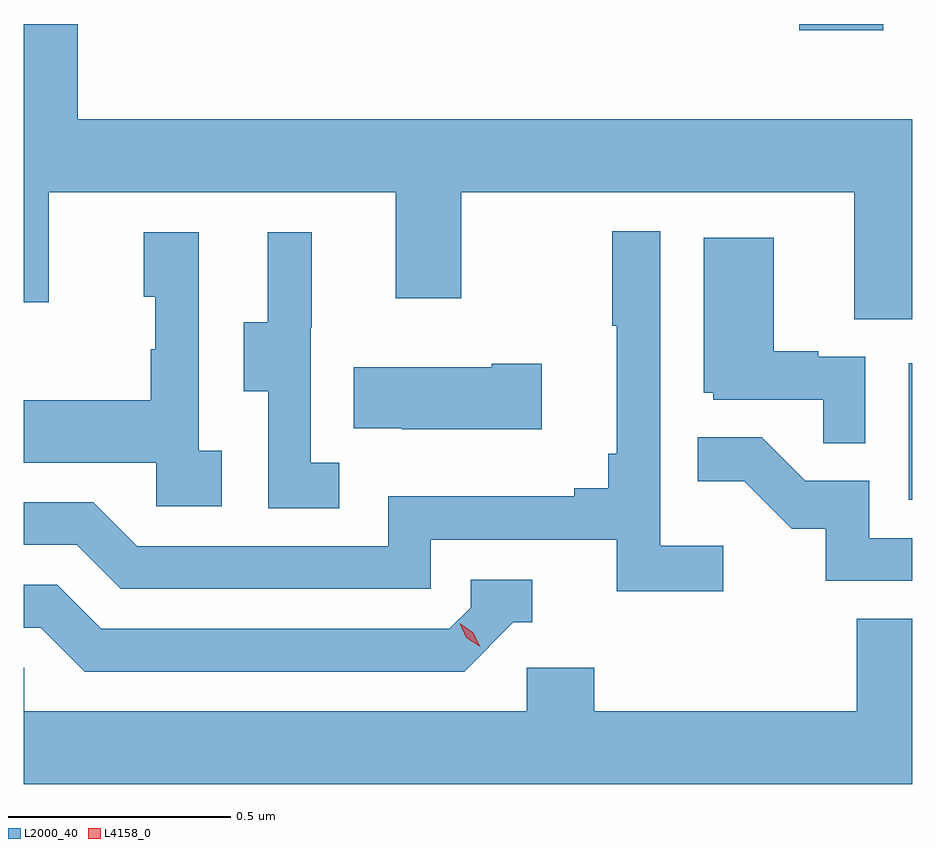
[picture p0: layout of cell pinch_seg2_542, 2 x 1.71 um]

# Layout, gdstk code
import gdstk
lib = gdstk.Library(unit=1e-6, precision=1e-09)
def R(c, l, rs):  # rectangles x0, y0, x1, y1
    for r in rs: c.add(gdstk.rectangle(r[:2], r[2:], *l))
def P(c, l, *ps):  # polygons
    for p in ps: c.add(gdstk.Polygon(p, *l))
L2000_40 = (2000, 40)
L4158_0 = (4158, 0)

pinch_seg2_542 = lib.new_cell('pinch_seg2_542')
R(pinch_seg2_542, L2000_40, [(986.096,597.66,986.104,597.967), (985.849,598.716,986.038,598.73)])
P(pinch_seg2_542, L2000_40, [(986.104,598.516),(984.226,598.516),(984.226,598.73),(984.104,598.73),(984.104,598.104),(984.161,598.104),(984.161,598.352),(984.941,598.352),(984.941,598.113),(985.089,598.113),(985.089,598.352),(985.973,598.352),(985.973,598.066),(986.104,598.066)],
  [(985.678,597.556),(985.536,597.556),(985.536,598.264),(985.428,598.264),(985.428,598.051),(985.439,598.051),(985.439,597.763),(985.42,597.763),(985.42,597.686),(985.343,597.686),(985.343,597.667),(984.924,597.667),(984.924,597.555),(984.36,597.555),(984.261,597.654),(984.104,597.654),(984.104,597.558),(984.224,597.558),(984.323,597.459),(985.02,597.459),(985.02,597.57),(985.439,597.57),(985.439,597.454),(985.678,597.454)],
  [(984.814,597.743),(984.75,597.743),(984.75,598.047),(984.752,598.047),(984.752,598.261),(984.653,598.261),(984.653,598.059),(984.599,598.059),(984.599,597.904),(984.654,597.904),(984.654,597.64),(984.814,597.64)],
  [(984.55,597.77),(984.498,597.77),(984.498,598.261),(984.374,598.261),(984.374,598.116),(984.4,598.116),(984.4,597.998),(984.39,597.998),(984.39,597.883),(984.104,597.883),(984.104,597.743),(984.402,597.743),(984.402,597.645),(984.55,597.645)],
  [(985.998,597.981),(985.892,597.981),(985.892,597.994),(985.792,597.994),(985.792,598.249),(985.634,598.249),(985.634,597.9),(985.656,597.9),(985.656,597.885),(985.903,597.885),(985.903,597.787),(985.998,597.787)],
  [(985.27,597.966),(985.157,597.966),(985.157,597.958),(984.847,597.958),(984.847,597.821),(984.955,597.821),(984.955,597.818),(985.27,597.818)],
  [(986.104,597.573),(986.007,597.573),(986.007,597.702),(985.863,597.702),(985.765,597.8),(985.621,597.8),(985.621,597.701),(985.725,597.701),(985.832,597.594),(985.909,597.594),(985.909,597.477),(986.104,597.477)],
  [(985.206,597.384),(985.249,597.384),(985.249,597.48),(985.11,597.48),(985.11,597.417),(985.062,597.369),(984.279,597.369),(984.18,597.468),(984.104,597.468),(984.104,597.372),(984.143,597.372),(984.242,597.273),(985.095,597.273)],
  [(986.104,597.392),(985.979,597.392),(985.979,597.184),(985.388,597.184),(985.388,597.282),(985.236,597.282),(985.236,597.184),(984.105,597.184),(984.105,597.282),(984.104,597.282),(984.104,597.02),(986.104,597.02)])
P(pinch_seg2_542, L4158_0, [(985.131,597.329),(985.1,597.349),(985.085,597.382),(985.085,597.382),(985.085,597.382),(985.115,597.362),(985.131,597.329),(985.131,597.329)])

lib.write_gds('pinch_seg2_542.gds')
